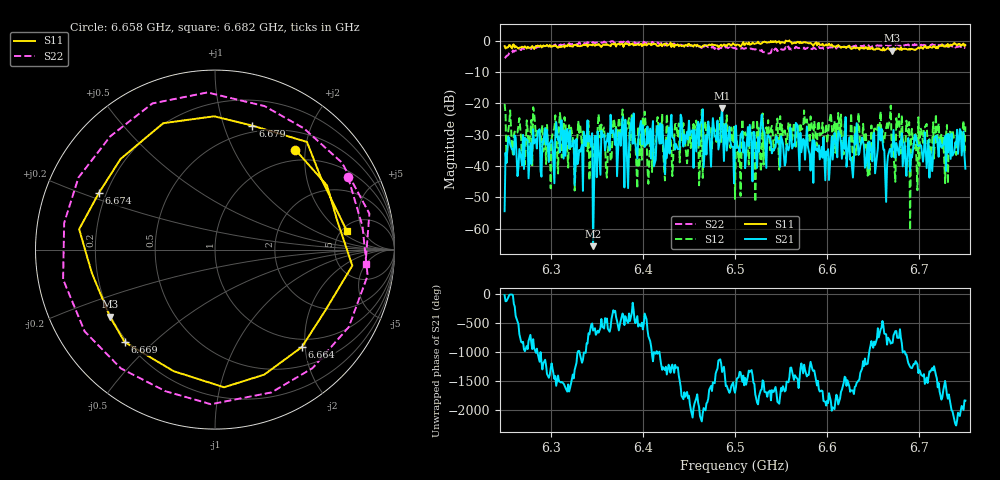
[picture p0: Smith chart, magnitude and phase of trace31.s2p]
# Hz S RI R 50
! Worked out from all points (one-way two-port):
!   401 points, 6.25 GHz to 6.75 GHz, reference 50 ohm
!   highest |S21| = -21.46 dB at 6.486 GHz (marker M1); lowest = -65.6 dB at 6.346 GHz (marker M2)
!   lowest |S11| = -3.2 dB at 6.67 GHz (marker M3), VSWR 5.55, Z = 9.75 - j14.1 ohm
!   |S11| at or under -10 dB: nowhere
!   |S22| runs from -5.5 to -0.1 dB; largest |S21 - S12| = 0.13
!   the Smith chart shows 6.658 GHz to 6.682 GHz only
!   S11 on the Smith chart (normalised r, x): 6.658 GHz: 0.80, +1.81; 6.664 GHz: 0.84, -1.94; 6.669 GHz: 0.19, -0.41; 6.674 GHz: 0.17, +0.22; 6.679 GHz: 0.43, +1.25; 6.682 GHz: 5.61, +2.53
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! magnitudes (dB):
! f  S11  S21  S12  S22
! 6.25 GHz  -1.7  -54.4  -20.1  -5.5
! 6.256 GHz  -1.5  -33.0  -22.2  -3.6
! 6.334 GHz  -1.5  -33.2  -33.7  -0.9
! 6.346 GHz  -1.1  -65.6  -34.8  -0.4
! 6.355 GHz  -2.0  -28.7  -26.7  -0.5
! 6.362 GHz  -1.3  -29.6  -35.4  -0.6
! 6.376 GHz  -1.1  -33.5  -28.8  -0.3
! 6.408 GHz  -1.0  -28.1  -30.0  -0.9
! 6.418 GHz  -1.5  -32.8  -30.3  -1.1
! 6.486 GHz  -1.7  -21.5  -30.5  -1.9
! 6.5 GHz  -1.3  -27.6  -50.5  -2.2
! 6.53 GHz  -0.5  -26.8  -23.2  -3.6
! 6.584 GHz  -1.2  -31.7  -28.4  -2.7
! 6.658 GHz  -2.9  -31.8  -22.5  -1.5
! 6.664 GHz  -2.8  -51.5  -27.9  -1.4
! 6.668 GHz  -2.9  -34.6  -25.2  -1.5
! 6.669 GHz  -2.9  -34.4  -20.7  -1.3
! 6.67 GHz  -3.2  -37.1  -34.0  -1.3
! 6.674 GHz  -2.9  -37.4  -45.0  -1.3
! 6.679 GHz  -2.8  -32.0  -31.6  -1.5
! 6.682 GHz  -2.6  -40.1  -31.0  -1.5
! 6.75 GHz  -1.4  -40.9  -27.4  -2.3
